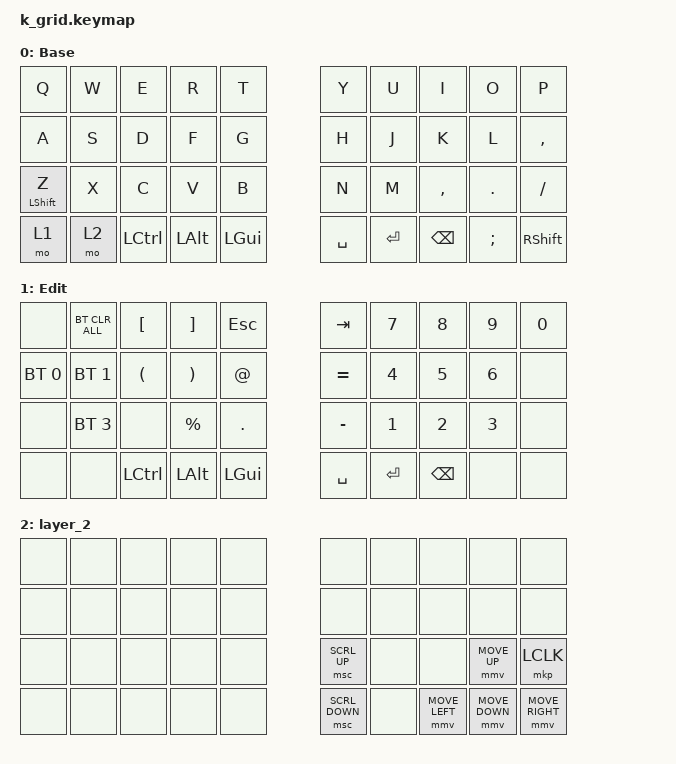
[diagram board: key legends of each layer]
#include <behaviors.dtsi>
#include <dt-bindings/zmk/bt.h>
#include <dt-bindings/zmk/keys.h>
#include <dt-bindings/zmk/pointing.h>

/ {
    keymap {
        compatible = "zmk,keymap";

        default_layer {
            display-name = "Base";
            bindings = <
&kp Q             &kp W  &kp E      &kp R     &kp T     &kp Y      &kp U      &kp I          &kp O     &kp P
&kp A             &kp S  &kp D      &kp F     &kp G     &kp H      &kp J      &kp K          &kp L     &kp COMMA
&mt LEFT_SHIFT Z  &kp X  &kp C      &kp V     &kp B     &kp N      &kp M      &kp COMMA      &kp DOT   &kp FSLH
&mo 1             &mo 2  &kp LCTRL  &kp LALT  &kp LGUI  &kp SPACE  &kp ENTER  &kp BACKSPACE  &kp SEMI  &kp RSHFT
            >;
        };

        layer_1 {
            display-name = "Edit";
            bindings = <
&none         &bt BT_CLR_ALL  &kp LBKT   &kp RBKT     &kp ESC   &kp TAB    &kp N7   &kp N8         &kp N9        &kp N0
&bt BT_SEL 0  &bt BT_SEL 1    &kp LPAR   &kp RPAR     &kp AT    &kp EQUAL  &kp N4   &kp N5         &kp N6        &none
&none         &bt BT_SEL 3    &none      &kp PERCENT  &kp DOT   &kp MINUS  &kp N1   &kp N2         &kp NUMBER_3  &none
&none         &none           &kp LCTRL  &kp LALT     &kp LGUI  &kp SPACE  &kp RET  &kp BACKSPACE  &none         &none
            >;
        };

        layer_2 {
            bindings = <
&none  &none  &none  &none  &none  &none           &none  &none           &none           &none
&none  &none  &none  &none  &none  &none           &none  &none           &none           &none
&none  &none  &none  &none  &none  &msc SCRL_UP    &none  &none           &mmv MOVE_UP    &mkp LCLK
&none  &none  &none  &none  &none  &msc SCRL_DOWN  &none  &mmv MOVE_LEFT  &mmv MOVE_DOWN  &mmv MOVE_RIGHT
            >;
        };
    };
};
